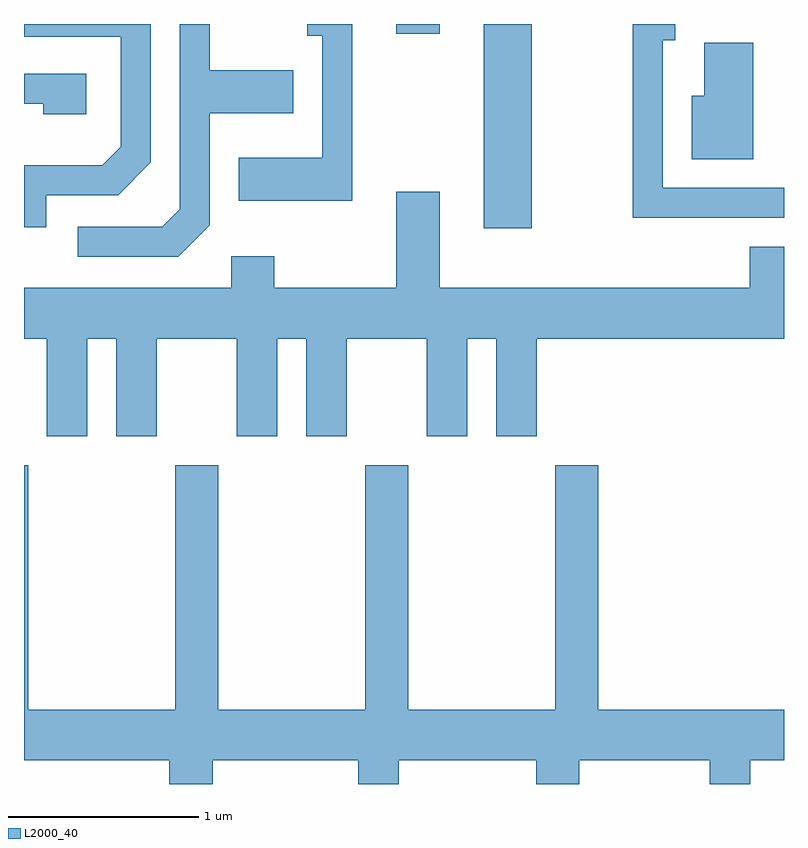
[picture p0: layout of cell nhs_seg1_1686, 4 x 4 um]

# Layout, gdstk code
import gdstk
lib = gdstk.Library(unit=1e-6, precision=1e-09)
def R(c, l, rs):  # rectangles x0, y0, x1, y1
    for r in rs: c.add(gdstk.rectangle(r[:2], r[2:], *l))
def P(c, l, *ps):  # polygons
    for p in ps: c.add(gdstk.Polygon(p, *l))
L2000_40 = (2000, 40)

nhs_seg1_1686 = lib.new_cell('nhs_seg1_1686')
R(nhs_seg1_1686, L2000_40, [(240.031,864.636,240.284,865.712), (239.571,865.661,239.799,865.712)])
P(nhs_seg1_1686, L2000_40, [(237.729,864.811),(238.107,864.811),(238.279,864.984),(238.279,865.712),(237.611,865.712),(237.611,865.646),(238.121,865.646),(238.121,865.067),(238.024,864.969),(237.611,864.969),(237.611,864.641),(237.729,864.641)],
  [(238.589,864.654),(238.589,865.241),(239.029,865.241),(239.029,865.469),(238.589,865.469),(238.589,865.712),(238.431,865.712),(238.431,864.737),(238.339,864.644),(237.893,864.644),(237.893,864.486),(238.422,864.486)],
  [(239.339,865.712),(239.103,865.712),(239.103,865.651),(239.181,865.651),(239.181,865.009),(238.741,865.009),(238.741,864.781),(239.339,864.781)],
  [(241.611,864.849),(240.974,864.849),(240.974,865.626),(241.039,865.626),(241.039,865.712),(240.816,865.712),(240.816,864.691),(241.611,864.691)],
  [(241.449,865.614),(241.191,865.614),(241.191,865.334),(241.126,865.334),(241.126,865.001),(241.449,865.001)],
  [(237.939,865.449),(237.611,865.449),(237.611,865.291),(237.711,865.291),(237.711,865.236),(237.939,865.236)],
  [(237.944,864.056),(238.096,864.056),(238.096,863.541),(238.309,863.541),(238.309,864.056),(238.731,864.056),(238.731,863.541),(238.944,863.541),(238.944,864.056),(239.096,864.056),(239.096,863.541),(239.309,863.541),(239.309,864.056),(239.731,864.056),(239.731,863.541),(239.944,863.541),(239.944,864.056),(240.096,864.056),(240.096,863.541),(240.309,863.541),(240.309,864.056),(241.611,864.056),(241.611,864.539),(241.431,864.539),(241.431,864.324),(239.799,864.324),(239.799,864.829),(239.571,864.829),(239.571,864.324),(238.929,864.324),(238.929,864.489),(238.701,864.489),(238.701,864.324),(237.611,864.324),(237.611,864.056),(237.731,864.056),(237.731,863.541),(237.944,863.541)],
  [(238.604,861.836),(239.371,861.836),(239.371,861.712),(239.584,861.712),(239.584,861.836),(240.306,861.836),(240.306,861.712),(240.534,861.712),(240.534,861.836),(241.221,861.836),(241.221,861.712),(241.434,861.712),(241.434,861.836),(241.611,861.836),(241.611,862.104),(240.634,862.104),(240.634,863.389),(240.406,863.389),(240.406,862.104),(239.634,862.104),(239.634,863.389),(239.406,863.389),(239.406,862.104),(238.634,862.104),(238.634,863.389),(238.406,863.389),(238.406,862.104),(237.634,862.104),(237.634,863.389),(237.611,863.389),(237.611,861.836),(238.376,861.836),(238.376,861.712),(238.604,861.712)])

lib.write_gds('nhs_seg1_1686.gds')
